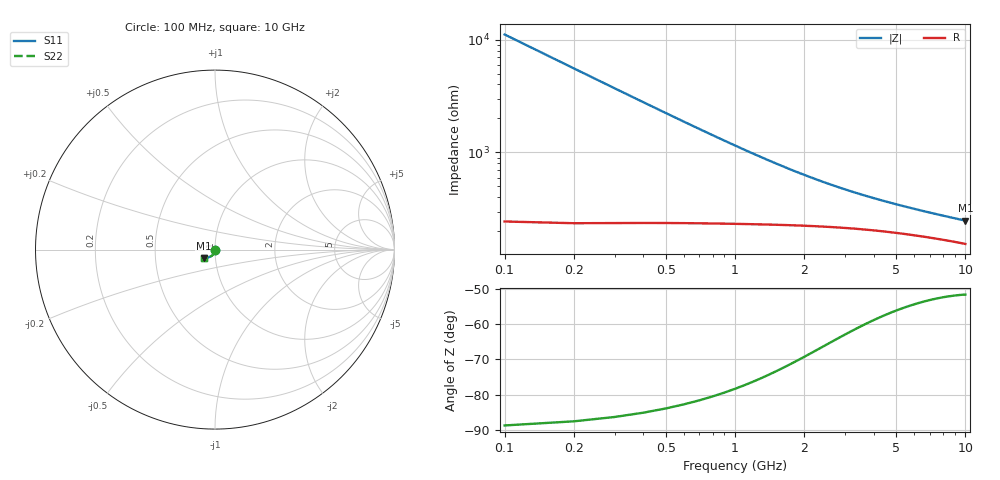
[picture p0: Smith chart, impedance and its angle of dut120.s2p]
! Touchstone file exported from HFSS 2024.1.0
!  File:  C:/UserFiles/LocalFiles/RDL_TSV_Batchsim/temp_TSV1_120_1778753030.aedt
!  Generated:  06:08:38 PM May 14, 2026
!  Design:  TSV1
!  Project:  temp_TSV1_120_1778753030
!  Setup:  Setup1
!  Solution:  Sweep
! Variables:
!  dtsv = 15.48um
!  hbump = 3um
!  htsv = 76.17um
!  lrdl = 252.1521522um
!  p = 40
!  p1 = 40.48um
!  t = 500um
!  trdl = 3um
!  wrdl = 24.89489489um
# GHz S MA R 50.000000
! Terminal data exported
! Port[1] = TSV22_T1
! Port[2] = TSV22_T2
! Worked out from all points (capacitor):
!   100 points, 100 MHz to 10 GHz, reference 50 ohm
!   read as one part in shunt: C = 144 fF near 100 MHz
!   lowest |Z| = 249 ohm at 10 GHz (marker M1)
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0.1  0.00199 -89.0  0.9999 -0.1  0.9999 -0.1  0.00199 -89.0
! Gamma 0 0 0 0
! Port Impedance 50 0 50 0
0.2  0.003986 -91.4  0.9997 -0.3  0.9997 -0.3  0.003986 -91.4
0.3  0.005983 -93.2  0.9994 -0.4  0.9994 -0.4  0.005983 -93.2
0.4  0.007967 -94.9  0.999 -0.6  0.999 -0.6  0.007967 -94.9
0.5  0.009931 -96.4  0.9986 -0.7  0.9986 -0.7  0.009931 -96.4
0.6  0.01187 -97.9  0.998 -0.8  0.998 -0.8  0.01187 -97.9
0.7  0.01378 -99.4  0.9974 -1.0  0.9974 -1.0  0.01378 -99.4
0.8  0.01565 -100.8  0.9967 -1.1  0.9967 -1.1  0.01565 -100.8
0.9  0.01749 -102.2  0.996 -1.2  0.996 -1.2  0.01749 -102.2
1.1  0.02104 -104.9  0.9943 -1.5  0.9943 -1.5  0.02104 -104.9
1.4  0.02602 -108.6  0.9915 -1.8  0.9915 -1.8  0.02602 -108.6
1.6  0.02911 -110.9  0.9895 -2.0  0.9895 -2.0  0.02911 -110.9
1.8  0.03202 -113.0  0.9874 -2.2  0.9874 -2.2  0.03202 -113.0
2.1  0.03603 -116.0  0.9842 -2.4  0.9842 -2.4  0.03603 -116.0
2.5  0.04078 -119.5  0.9801 -2.7  0.9801 -2.7  0.04078 -119.5
2.9  0.04494 -122.5  0.9761 -3.0  0.9761 -3.0  0.04494 -122.5
3.4  0.04944 -125.6  0.9716 -3.2  0.9716 -3.2  0.04944 -125.6
4.2  0.05543 -129.7  0.9652 -3.6  0.9652 -3.6  0.05543 -129.7
5.1  0.06088 -133.1  0.9592 -4.0  0.9592 -4.0  0.06088 -133.1
6.7  0.06843 -137.3  0.9507 -4.5  0.9507 -4.5  0.06843 -137.3
8.4  0.07456 -140.3  0.9439 -5.0  0.9439 -5.0  0.07456 -140.3
10  0.07918 -142.3  0.9389 -5.5  0.9389 -5.5  0.07918 -142.3
